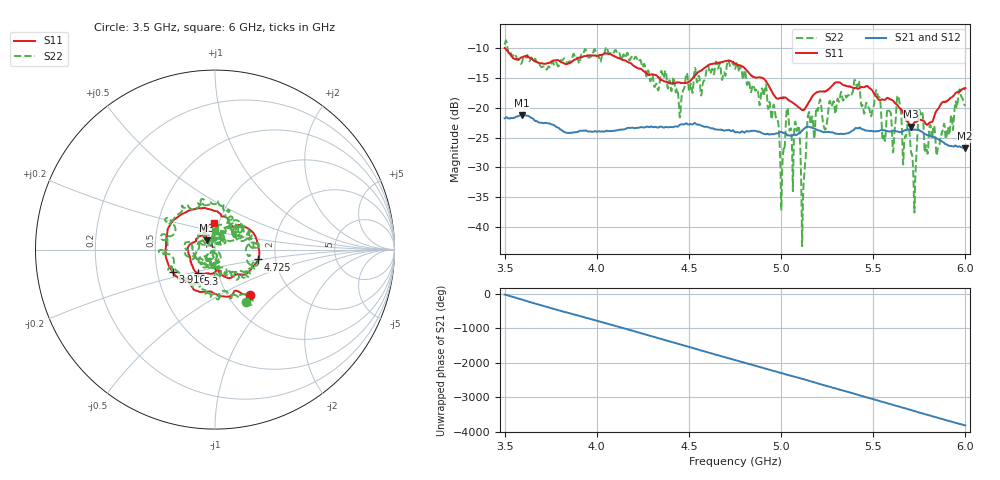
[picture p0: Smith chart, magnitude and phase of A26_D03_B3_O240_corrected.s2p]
! Created with skrf 1.9.0 (http://scikit-rf.org).
# Hz S RI R 50.0
!freq ReS11 ImS11 ReS21 ImS21 ReS12 ImS12 ReS22 ImS22
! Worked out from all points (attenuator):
!   1601 points, 3.5 GHz to 6 GHz, reference 50 ohm
!   highest |S21| = -21.22 dB at 3.592 GHz (marker M1); lowest = -26.8 dB at 5.998 GHz (marker M2)
!   lowest |S11| = -23.2 dB at 5.706 GHz (marker M3), VSWR 1.15, Z = 45.3 + j4.74 ohm
!   |S11| at or under -10 dB: 3.503 GHz to end of sweep
!   |S22| runs from -43.3 to -8.7 dB; largest |S21 - S12| = 0.00096
!   S11 on the Smith chart (normalised r, x): 3.5 GHz: 1.26, -0.71; 3.916 GHz: 0.60, -0.16; 4.725 GHz: 1.63, -0.19; 5.3 GHz: 0.80, -0.22; 6 GHz: 0.95, +0.28
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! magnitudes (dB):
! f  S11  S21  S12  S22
! 3.5 GHz  -9.9  -21.8  -21.7  -9.4
! 3.592 GHz  -11.5  -21.2  -21.2  -12.5
! 3.916 GHz  -11.5  -23.9  -23.8  -11.1
! 3.917 GHz  -11.5  -23.9  -23.8  -10.9
! 4.334 GHz  -14.9  -23.3  -23.2  -17.0
! 4.725 GHz  -12.1  -23.9  -23.8  -13.1
! 4.75 GHz  -12.5  -24.1  -24.0  -13.5
! 4.969 GHz  -18.2  -24.3  -24.3  -21.2
! 5.005 GHz  -18.3  -24.1  -24.1  -31.8
! 5.034 GHz  -18.5  -24.6  -24.5  -20.0
! 5.088 GHz  -19.7  -24.5  -24.5  -23.6
! 5.119 GHz  -20.4  -23.7  -23.6  -35.7
! 5.167 GHz  -18.2  -23.3  -23.3  -21.6
! 5.3 GHz  -15.7  -24.3  -24.3  -19.9
! 5.584 GHz  -18.4  -23.9  -23.9  -20.3
! 5.639 GHz  -19.9  -24.1  -24.0  -18.4
! 5.706 GHz  -23.2  -23.7  -23.6  -27.7
! 5.725 GHz  -22.4  -23.6  -23.6  -36.0
! 5.756 GHz  -22.0  -23.9  -23.8  -21.1
! 5.852 GHz  -20.2  -25.3  -25.2  -26.7
! 5.998 GHz  -16.8  -26.8  -26.7  -19.6
! 6 GHz  -16.7  -26.8  -26.7  -19.5
